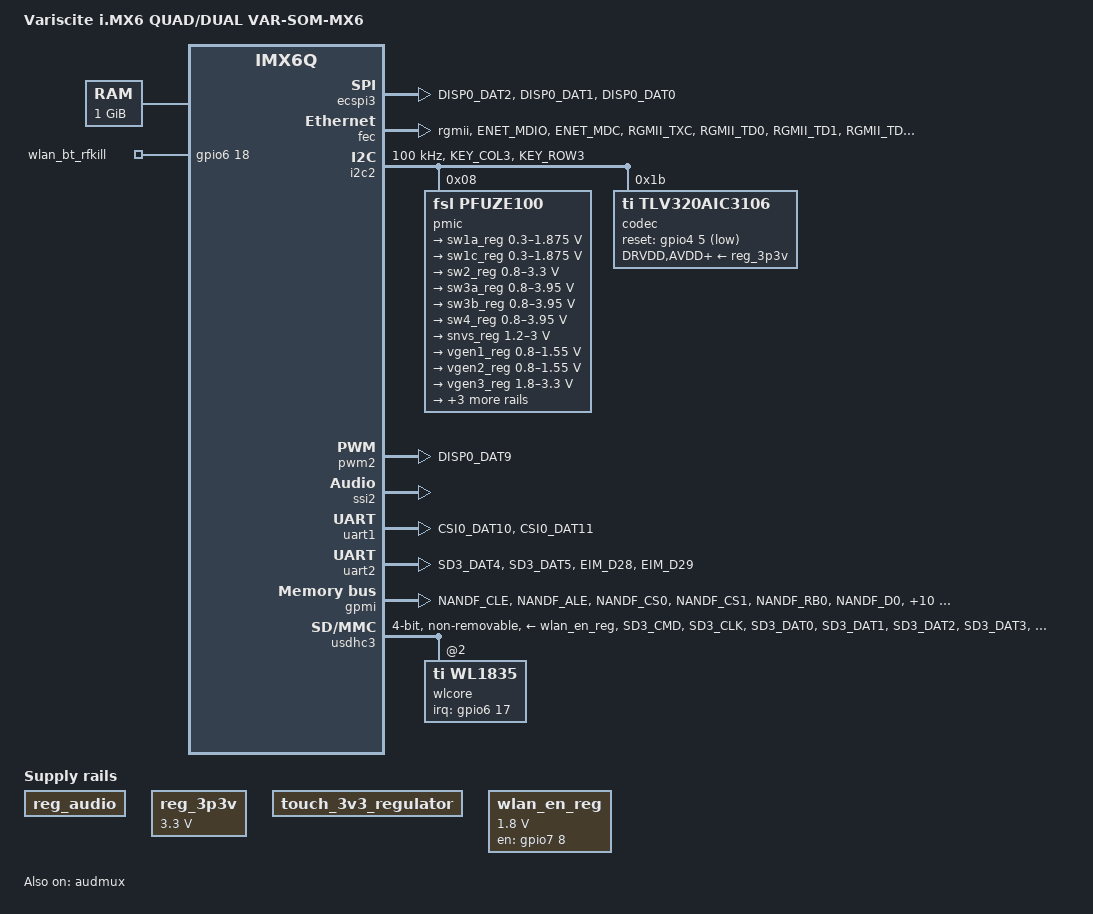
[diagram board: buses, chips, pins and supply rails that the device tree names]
// SPDX-License-Identifier: GPL-2.0+
//
// Copyright 2011 Linaro Ltd.
// Copyright 2012 Freescale Semiconductor, Inc.
// Copyright (C) 2014-2016 Variscite, Ltd. All Rights Reserved,
//   Donio Ron: ron.d@variscite.com
// Copyright 2022 Bootlin

/dts-v1/;

#include "imx6q.dtsi"
#include <dt-bindings/clock/imx6qdl-clock.h>
#include <dt-bindings/gpio/gpio.h>
#include <dt-bindings/input/input.h>
#include <dt-bindings/sound/fsl-imx-audmux.h>

/ {
	model = "Variscite i.MX6 QUAD/DUAL VAR-SOM-MX6";
	compatible = "fsl,imx6q-var-som", "fsl,imx6q";

	chosen {
		stdout-path = &uart1;
	};

	memory: memory {
		reg = <0x10000000 0x40000000>;
	};

	regulators {
		compatible = "simple-bus";
		#address-cells = <1>;
		#size-cells = <0>;

		reg_audio: regulator-audio {
			compatible = "regulator-fixed";
			regulator-name = "tlv320aic3x-supply";
			enable-active-high;
		};

		reg_3p3v: regulator-3p3v {
			compatible = "regulator-fixed";
			regulator-name = "3P3V";
			regulator-min-microvolt = <3300000>;
			regulator-max-microvolt = <3300000>;
			regulator-always-on;
		};

		touch_3v3_regulator: touch_3v3_regulator {
			compatible = "regulator-fixed";
			regulator-name = "touch_3v3_supply";
			regulator-always-on;
			status = "okay";
		};
	};

	wlan_en_reg: fixedregulator@2 {
		compatible = "regulator-fixed";
		regulator-name = "wlan-en-regulator";
		regulator-min-microvolt = <1800000>;
		regulator-max-microvolt = <1800000>;
		gpio = <&gpio7 8 GPIO_ACTIVE_HIGH>;
		/* WLAN card specific delay */
		startup-delay-us = <70000>;
		enable-active-high;
	};

	sound: sound {
		compatible = "simple-audio-card";
		simple-audio-card,name = "var-som-audio";
		simple-audio-card,format = "i2s";
		simple-audio-card,bitclock-master = <&sound_codec>;
		simple-audio-card,frame-master = <&sound_codec>;
		simple-audio-card,widgets = "Headphone", "Headphone Jack",
					    "Line", "Line In", "Microphone", "Mic Jack";
		simple-audio-card,routing = "Headphone Jack", "HPLOUT",
					    "Headphone Jack", "HPROUT",
					    "LINE1L", "Line In",
					    "LINE1R", "Line In";

		sound_cpu: simple-audio-card,cpu {
			sound-dai = <&ssi2>;
		};

		sound_codec: simple-audio-card,codec {
			sound-dai = <&codec>;
			clocks = <&clks IMX6QDL_CLK_CKO>;
		};
	};

	wlan_bt_rfkill {
		compatible = "net,rfkill-gpio";
		name = "wlan_bt_rfkill";
		type = <2>;     /* bluetooth */
		gpios = <&gpio6 18 GPIO_ACTIVE_HIGH>;
	};
};

&cpu0 {
	operating-points = <
		/* kHz    uV */
		1200000 1350000
		996000  1250000
		852000  1250000
		792000  1175000
		396000  1175000
	>;

	fsl,soc-operating-points = <
		/* ARM kHz  SOC-PU uV */
		1200000 1275000
		996000	1250000
		852000	1250000
		792000	1250000
		396000	1250000
	>;
};

&audmux {
	pinctrl-names = "default";
	pinctrl-0 = <&pinctrl_audmux_2>;
	status = "okay";

	ssi2 {
		fsl,audmux-port = <1>;
		fsl,port-config = <
			(IMX_AUDMUX_V2_PTCR_SYN |
			IMX_AUDMUX_V2_PTCR_TFSDIR |
			IMX_AUDMUX_V2_PTCR_TFSEL(2) |
			IMX_AUDMUX_V2_PTCR_TCLKDIR |
			IMX_AUDMUX_V2_PTCR_TCSEL(2))
			IMX_AUDMUX_V2_PDCR_RXDSEL(2)
		>;
	};

	aud3 {
		fsl,audmux-port = <2>;
		fsl,port-config = <
			IMX_AUDMUX_V2_PTCR_SYN
			IMX_AUDMUX_V2_PDCR_RXDSEL(1)
		>;
	};
};

&ecspi3 {
	fsl,spi-num-chipselects = <1>;
	pinctrl-names = "default";
	pinctrl-0 = <&pinctrl_ecspi3_1>;
	cs-gpios = <&gpio4 24 GPIO_ACTIVE_HIGH>;
	status = "okay";
};

&fec {
	pinctrl-names = "default";
	pinctrl-0 = <&pinctrl_enet_4>;
	phy-mode = "rgmii";
	phy-reset-gpios = <&gpio1 25 GPIO_ACTIVE_LOW>;
	fsl,magic-packet;
	status = "okay";
};

&gpc {
	fsl,ldo-bypass = <1>;
};

&i2c2 {
	clock-frequency = <100000>;
	pinctrl-names = "default";
	pinctrl-0 = <&pinctrl_i2c2_2>;
	status = "okay";

	pmic: pfuze100@8 {
		compatible = "fsl,pfuze100";
		reg = <0x8>;
		status = "okay";
		regulators {
			sw1a_reg: sw1ab {
				regulator-min-microvolt = <300000>;
				regulator-max-microvolt = <1875000>;
				regulator-boot-on;
				regulator-always-on;
				regulator-ramp-delay = <6250>;
			};

			sw1c_reg: sw1c {
				regulator-min-microvolt = <300000>;
				regulator-max-microvolt = <1875000>;
				regulator-boot-on;
				regulator-always-on;
				regulator-ramp-delay = <6250>;
			};

			sw2_reg: sw2 {
				regulator-min-microvolt = <800000>;
				regulator-max-microvolt = <3300000>;
				regulator-boot-on;
				regulator-always-on;
			};

			sw3a_reg: sw3a {
				regulator-min-microvolt = <800000>;
				regulator-max-microvolt = <3950000>;
				regulator-boot-on;
				regulator-always-on;
			};

			sw3b_reg: sw3b {
				regulator-min-microvolt = <800000>;
				regulator-max-microvolt = <3950000>;
				regulator-boot-on;
				regulator-always-on;
			};

			sw4_reg: sw4 {
				regulator-min-microvolt = <800000>;
				regulator-max-microvolt = <3950000>;
			};

			snvs_reg: vsnvs {
				regulator-min-microvolt = <1200000>;
				regulator-max-microvolt = <3000000>;
				regulator-boot-on;
				regulator-always-on;
			};

			vref_reg: vrefddr {
				regulator-boot-on;
				regulator-always-on;
			};

			vgen1_reg: vgen1 {
				regulator-min-microvolt = <800000>;
				regulator-max-microvolt = <1550000>;
			};

			vgen2_reg: vgen2 {
				regulator-min-microvolt = <800000>;
				regulator-max-microvolt = <1550000>;
			};

			vgen3_reg: vgen3 {
				regulator-min-microvolt = <1800000>;
				regulator-max-microvolt = <3300000>;
				regulator-always-on;
				regulator-boot-on;
			};

			vgen4_reg: vgen4 {
				regulator-min-microvolt = <1800000>;
				regulator-max-microvolt = <3300000>;
				regulator-always-on;
				regulator-boot-on;
			};

			vgen5_reg: vgen5 {
				regulator-min-microvolt = <1800000>;
				regulator-max-microvolt = <3300000>;
				regulator-always-on;
				regulator-boot-on;
			};

			vgen6_reg: vgen6 {
				regulator-min-microvolt = <2800000>;
				regulator-max-microvolt = <2800000>;
				regulator-always-on;
				regulator-boot-on;
			};
		};
	};

	codec: tlv320aic3x@1b {
		compatible = "ti,tlv320aic3106";
		reg = <0x1b>;
		#sound-dai-cells = <0>;
		DRVDD-supply = <&reg_3p3v>;
		AVDD-supply = <&reg_3p3v>;
		IOVDD-supply = <&reg_3p3v>;
		DVDD-supply = <&reg_3p3v>;
		ai3x-ocmv = <0>;
		reset-gpios = <&gpio4 5 GPIO_ACTIVE_LOW>;
		ai3x-gpio-func = <
			0 /* AIC3X_GPIO1_FUNC_DISABLED */
			5 /* AIC3X_GPIO2_FUNC_DIGITAL_MIC_INPUT */
		>;
	};
};

&iomuxc {
	pinctrl-names = "default";
	pinctrl-0 = <&pinctrl_hog>;

	imx6qdl-var-som-mx6 {

		pinctrl_hog: hoggrp {
			fsl,pins = <
				/* CTW6120 IRQ */
				MX6QDL_PAD_EIM_DA7__GPIO3_IO07 		0x80000000
				/* for Bluetooth/wifi enable */
				MX6QDL_PAD_SD3_DAT6__GPIO6_IO18		0x1b0b1
				/* SDMMC2 CD/WP */
				MX6QDL_PAD_KEY_COL4__GPIO4_IO14		0x80000000
				MX6QDL_PAD_KEY_ROW4__GPIO4_IO15		0x80000000
				/* PMIC INT */
				MX6QDL_PAD_GPIO_17__GPIO7_IO12		0x80000000
				/* Wifi Slow Clock */
				MX6QDL_PAD_ENET_RXD0__OSC32K_32K_OUT	0x000b0
				/* Audio Clock */
				MX6QDL_PAD_GPIO_0__CCM_CLKO1		0x130b0
			>;
		};

		pinctrl_audmux_2: audmux {
			fsl,pins = <
				MX6QDL_PAD_CSI0_DAT7__AUD3_RXD		0x130b0
				MX6QDL_PAD_CSI0_DAT4__AUD3_TXC		0x130b0
				MX6QDL_PAD_CSI0_DAT5__AUD3_TXD		0x110b0
				MX6QDL_PAD_CSI0_DAT6__AUD3_TXFS		0x130b0
			>;
		};

		pinctrl_enet_4: enetgrp {
			fsl,pins = <
				MX6QDL_PAD_ENET_MDIO__ENET_MDIO		0x1b0b0
				MX6QDL_PAD_ENET_MDC__ENET_MDC		0x1b0b0
				MX6QDL_PAD_RGMII_TXC__RGMII_TXC		0x1b0b0
				MX6QDL_PAD_RGMII_TD0__RGMII_TD0		0x1b0b0
				MX6QDL_PAD_RGMII_TD1__RGMII_TD1		0x1b0b0
				MX6QDL_PAD_RGMII_TD2__RGMII_TD2		0x1b0b0
				MX6QDL_PAD_RGMII_TD3__RGMII_TD3		0x1b0b0
				MX6QDL_PAD_RGMII_TX_CTL__RGMII_TX_CTL	0x1b0b0
				MX6QDL_PAD_ENET_REF_CLK__ENET_TX_CLK	0x1b0b0
				MX6QDL_PAD_RGMII_RXC__RGMII_RXC		0x1b0b0
				MX6QDL_PAD_RGMII_RD0__RGMII_RD0		0x1b0b0
				MX6QDL_PAD_RGMII_RD1__RGMII_RD1		0x1b0b0
				MX6QDL_PAD_RGMII_RD2__RGMII_RD2		0x1b0b0
				MX6QDL_PAD_RGMII_RD3__RGMII_RD3		0x1b0b0
				MX6QDL_PAD_RGMII_RX_CTL__RGMII_RX_CTL	0x1b0b0
			>;
		};

		pinctrl_enet_irq: enetirqgrp {
			fsl,pins = <
				MX6QDL_PAD_GPIO_6__ENET_IRQ		0x000b1
			>;
		};



		pinctrl_i2c1_2: i2c1grp {
			fsl,pins = <
				MX6QDL_PAD_CSI0_DAT8__I2C1_SDA		0x4001b8b1
				MX6QDL_PAD_CSI0_DAT9__I2C1_SCL		0x4001b8b1
			>;
		};

		pinctrl_i2c2_2: i2c2grp {
			fsl,pins = <
				MX6QDL_PAD_KEY_COL3__I2C2_SCL		0x4001b8b1
				MX6QDL_PAD_KEY_ROW3__I2C2_SDA		0x4001b8b1
			>;
		};

		pinctrl_i2c3_3: i2c3grp {
			fsl,pins = <
				MX6QDL_PAD_GPIO_5__I2C3_SCL		0x4001b8b1
				MX6QDL_PAD_GPIO_16__I2C3_SDA		0x4001b8b1
			>;
		};


		pinctrl_pwm2_1: pwm2grp {
			fsl,pins = <
				MX6QDL_PAD_DISP0_DAT9__PWM2_OUT		0x1b0b1
			>;
		};
		/* Linux Console */
		pinctrl_uart1_1: uart1grp-1 { /* RX/TX only */
			fsl,pins = <
				MX6QDL_PAD_CSI0_DAT10__UART1_TX_DATA	0x1b0b1
				MX6QDL_PAD_CSI0_DAT11__UART1_RX_DATA	0x1b0b1
			>;
		};

		/* Variscite Bluetooth */
		pinctrl_uart2_3: uart2grp-3 { /* RTS/CTS only mode */
			fsl,pins = <
				MX6QDL_PAD_SD3_DAT4__UART2_RX_DATA	0x1b0b1
				MX6QDL_PAD_SD3_DAT5__UART2_TX_DATA	0x1b0b1
				MX6QDL_PAD_EIM_D28__UART2_CTS_B		0x1b0b1
				MX6QDL_PAD_EIM_D29__UART2_RTS_B		0x1b0b1
			>;
		};

		pinctrl_usdhc3_2: usdhc3grp {
			fsl,pins = <
				MX6QDL_PAD_SD3_CMD__SD3_CMD    		0x17069
				MX6QDL_PAD_SD3_CLK__SD3_CLK    		0x10069
				MX6QDL_PAD_SD3_DAT0__SD3_DATA0 		0x17069
				MX6QDL_PAD_SD3_DAT1__SD3_DATA1 		0x17069
				MX6QDL_PAD_SD3_DAT2__SD3_DATA2 		0x17069
				MX6QDL_PAD_SD3_DAT3__SD3_DATA3 		0x17069
                                MX6QDL_PAD_SD3_DAT7__GPIO6_IO17 	0x13059   /* Reserve two pins from sd1 for wl8 gpio, this is pulled low at reset for WL_EN */
                                MX6QDL_PAD_SD3_RST__GPIO7_IO08  	0x13059   /* this is for wl_irq which driver will configure as an input with a pull down */
			>;
		};

		pinctrl_usdhc3_2_100mhz: usdhc3grp-100mhz {
			fsl,pins = <
				MX6QDL_PAD_SD3_CMD__SD3_CMD		0x170B9
				MX6QDL_PAD_SD3_CLK__SD3_CLK		0x100B9
				MX6QDL_PAD_SD3_DAT0__SD3_DATA0		0x170B9
				MX6QDL_PAD_SD3_DAT1__SD3_DATA1		0x170B9
				MX6QDL_PAD_SD3_DAT2__SD3_DATA2		0x170B9
				MX6QDL_PAD_SD3_DAT3__SD3_DATA3		0x170B9
                                MX6QDL_PAD_SD3_DAT7__GPIO6_IO17 	0x130B9   /* reserve two pins from sd1 for wl8 gpio, this is pulled low at reset for WL_EN */
                                MX6QDL_PAD_SD3_RST__GPIO7_IO08  	0x130B9   /* this is for wl_irq which driver will configure as an input with a pull down */
			>;
		};

		pinctrl_usdhc3_2_200mhz: usdhc3grp-200mhz {
			fsl,pins = <
				MX6QDL_PAD_SD3_CMD__SD3_CMD		0x170F9
				MX6QDL_PAD_SD3_CLK__SD3_CLK		0x100F9
				MX6QDL_PAD_SD3_DAT0__SD3_DATA0		0x170F9
				MX6QDL_PAD_SD3_DAT1__SD3_DATA1		0x170F9
				MX6QDL_PAD_SD3_DAT2__SD3_DATA2		0x170F9
				MX6QDL_PAD_SD3_DAT3__SD3_DATA3		0x170F9
                                MX6QDL_PAD_SD3_DAT7__GPIO6_IO17 	0x130F9   /* reserve two pins from sd1 for wl8 gpio, this is pulled low at reset for WL_EN */
                                MX6QDL_PAD_SD3_RST__GPIO7_IO08  	0x130F9   /* this is for wl_irq which driver will configure as an input with a pull down */
			>;
		};

		pinctrl_gpmi_nand_v1: gpmi-nand-1 {
			fsl,pins = <
				MX6QDL_PAD_NANDF_CLE__NAND_CLE		0xb0b1
				MX6QDL_PAD_NANDF_ALE__NAND_ALE		0xb0b1
				MX6QDL_PAD_NANDF_CS0__NAND_CE0_B	0xb0b1
				MX6QDL_PAD_NANDF_CS1__NAND_CE1_B	0xb0b1
				MX6QDL_PAD_NANDF_RB0__NAND_READY_B	0xb0b1
				MX6QDL_PAD_NANDF_D0__NAND_DATA00	0xb0b1
				MX6QDL_PAD_NANDF_D1__NAND_DATA01	0xb0b1
				MX6QDL_PAD_NANDF_D2__NAND_DATA02	0xb0b1
				MX6QDL_PAD_NANDF_D3__NAND_DATA03	0xb0b1
				MX6QDL_PAD_NANDF_D4__NAND_DATA04	0xb0b1
				MX6QDL_PAD_NANDF_D5__NAND_DATA05	0xb0b1
				MX6QDL_PAD_NANDF_D6__NAND_DATA06	0xb0b1
				MX6QDL_PAD_NANDF_D7__NAND_DATA07	0xb0b1
				MX6QDL_PAD_SD4_CMD__NAND_RE_B		0xb0b1
				MX6QDL_PAD_SD4_CLK__NAND_WE_B		0xb0b1
				MX6QDL_PAD_NANDF_WP_B__NAND_WP_B	0xb0b1
			>;
		};

		pinctrl_ecspi3_1: ecspi3grp {
			fsl,pins = <
				MX6QDL_PAD_DISP0_DAT2__ECSPI3_MISO	0x100b1
				MX6QDL_PAD_DISP0_DAT1__ECSPI3_MOSI	0x100b1
				MX6QDL_PAD_DISP0_DAT0__ECSPI3_SCLK	0x100b1
			>;
		};
	};
};

&pwm2 {
	pinctrl-names = "default";
	pinctrl-0 = <&pinctrl_pwm2_1>;
	status = "okay";
};


&ssi2 {
	fsl,mode = "i2s-slave";
	status = "okay";
};

/* Console Uart */
&uart1 {
	pinctrl-names = "default";
	pinctrl-0 = <&pinctrl_uart1_1>;
	status = "okay";
};

&snvs_poweroff {
	status = "okay";
};

/* Bluetooth Uart */
&uart2 {
	pinctrl-names = "default";
	pinctrl-0 = <&pinctrl_uart2_3>;
	fsl,uart-has-rtscts;
	status = "okay";
};

&gpmi {
	pinctrl-names = "default";
	pinctrl-0 = <&pinctrl_gpmi_nand_v1>;
	status = "okay";
};

&usdhc3 {	/* uSDHC3, TiWi wl1271 7 Wilink8 WL18xx*/
	pinctrl-names = "default", "state_100mhz", "state_200mhz";
	pinctrl-0 = <&pinctrl_usdhc3_2>;
	pinctrl-1 = <&pinctrl_usdhc3_2_100mhz>;
	pinctrl-2 = <&pinctrl_usdhc3_2_200mhz>;
	keep-power-in-suspend;
	vmmc-supply = <&wlan_en_reg>;
	bus-width = <4>;
	non-removable;
	cap-power-off-card;
	status = "okay";
	#address-cells = <1>;
	#size-cells = <0>;
	wlcore: wlcore@0 {
		compatible = "ti,wl1835";
		reg = <2>;

		interrupt-parent = <&gpio6>;
		interrupts = <17 IRQ_TYPE_EDGE_RISING>;

		/* if a 12xx card is there, configure the clock to WL12XX_REFCLOCK_38_XTAL */
		board-ref-clock = <4>;
	};
};

&reg_arm {
	vin-supply = <&sw1a_reg>;
};

&reg_pu {
	vin-supply = <&sw1c_reg>;
};

&reg_soc {
	vin-supply = <&sw1c_reg>;
};

&reg_vdd1p1 {
	vin-supply = <&vgen5_reg>;
};

&reg_vdd2p5 {
	vin-supply = <&vgen5_reg>;
};
